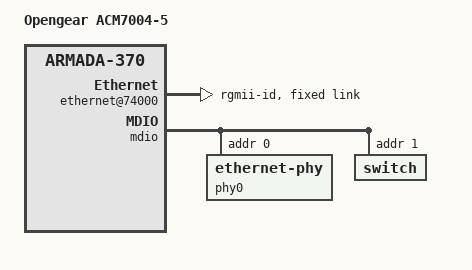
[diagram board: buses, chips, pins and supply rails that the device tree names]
/*
 * Device Tree file for Opengear ACM7004-5
 *
 * Ken Wilson <ken.wilson@opengear.com>
 *
 * This file is licensed under the terms of the GNU General Public
 * License version 2.  This program is licensed "as is" without any
 * warranty of any kind, whether express or implied.
 */
/dts-v1/;
#include "armada-370-acm7000-common.dtsi"

/ {
	model = "Opengear ACM7004-5";
	compatible = "opengear,cm7000", "marvell,armada370", "marvell,armada-370-xp";
	
	soc {
		internal-regs {
			
			ethernet@74000 {
				status = "okay";
				phy-mode = "rgmii-id";
				fixed-link {
					/* to MV88E6350R port 5 */
					speed = <1000>;
					full-duplex;
				};
			};
		};
	};
};

&mdio {	
	status = "okay";

	phy0: ethernet-phy@0 {
		reg = <0>;
		marvell,reg-init =
			< 3 16 0xf000 0x004a>,
			< 3 17 0xffc3 0x0014>,
			< 3 18 0xff7f 0x0000>,
			<18 20 0x0000 0x0226>;
	};
	switch@1 { /* MV88E6350R */
		reg = <1>;
		id = <0xdeadbeef>;
	};
};
